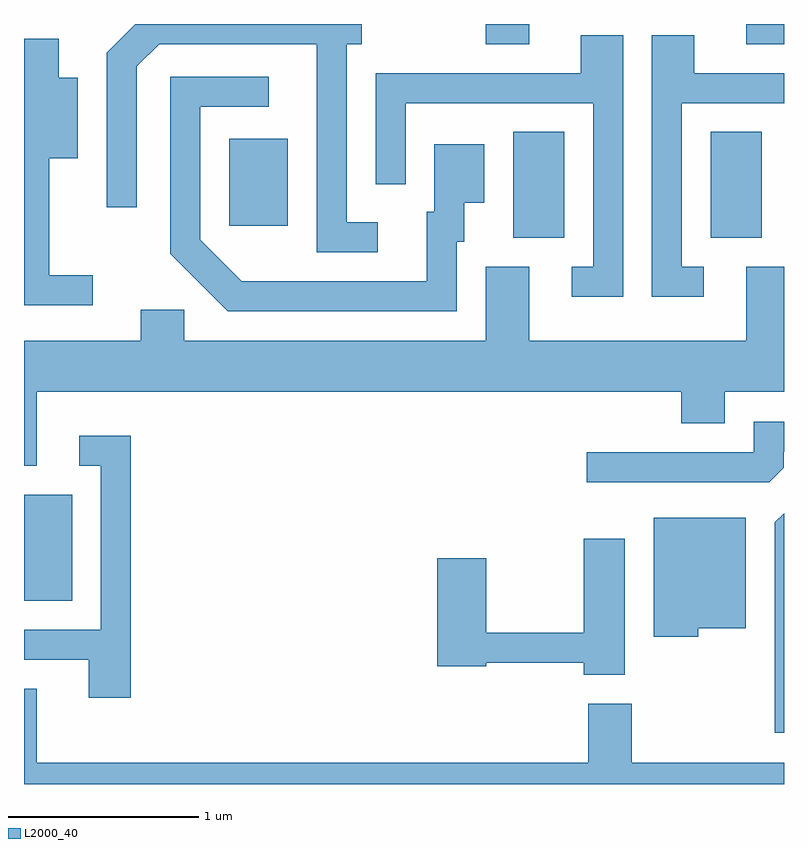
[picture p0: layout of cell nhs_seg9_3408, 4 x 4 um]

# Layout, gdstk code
import gdstk
lib = gdstk.Library(unit=1e-6, precision=1e-09)
def R(c, l, rs):  # rectangles x0, y0, x1, y1
    for r in rs: c.add(gdstk.rectangle(r[:2], r[2:], *l))
def P(c, l, *ps):  # polygons
    for p in ps: c.add(gdstk.Polygon(p, *l))
L2000_40 = (2000, 40)

nhs_seg9_3408 = lib.new_cell('nhs_seg9_3408')
R(nhs_seg9_3408, L2000_40, [(285.611,1977.396,285.864,1977.954), (288.186,1979.306,288.454,1979.864), (289.226,1979.306,289.494,1979.864), (286.691,1979.371,286.999,1979.829), (288.041,1980.326,288.269,1980.432), (289.411,1980.326,289.611,1980.432)])
P(nhs_seg9_3408, L2000_40, [(287.473,1979.389),(287.309,1979.389),(287.309,1980.326),(287.388,1980.326),(287.388,1980.432),(286.197,1980.432),(286.046,1980.282),(286.046,1979.468),(286.204,1979.468),(286.204,1980.209),(286.322,1980.326),(287.151,1980.326),(287.151,1979.231),(287.473,1979.231)],
  [(289.188,1979.154),(289.074,1979.154),(289.074,1980.016),(289.611,1980.016),(289.611,1980.174),(289.139,1980.174),(289.139,1980.374),(288.916,1980.374),(288.916,1978.996),(289.188,1978.996)],
  [(288.764,1980.374),(288.541,1980.374),(288.541,1980.174),(287.461,1980.174),(287.461,1979.588),(287.619,1979.588),(287.619,1980.016),(288.606,1980.016),(288.606,1979.154),(288.493,1979.154),(288.493,1978.996),(288.764,1978.996)],
  [(285.973,1979.109),(285.744,1979.109),(285.744,1979.726),(285.894,1979.726),(285.894,1980.149),(285.794,1980.149),(285.794,1980.354),(285.611,1980.354),(285.611,1978.951),(285.973,1978.951)],
  [(287.889,1979.286),(287.929,1979.286),(287.929,1979.491),(288.034,1979.491),(288.034,1979.799),(287.771,1979.799),(287.771,1979.444),(287.731,1979.444),(287.731,1979.079),(286.757,1979.079),(286.539,1979.297),(286.539,1979.996),(286.898,1979.996),(286.898,1980.154),(286.381,1980.154),(286.381,1979.224),(286.684,1978.921),(287.889,1978.921)],
  [(285.679,1978.496),(289.071,1978.496),(289.071,1978.331),(289.299,1978.331),(289.299,1978.496),(289.611,1978.496),(289.611,1979.154),(289.411,1979.154),(289.411,1978.764),(288.269,1978.764),(288.269,1979.154),(288.041,1979.154),(288.041,1978.764),(286.454,1978.764),(286.454,1978.929),(286.226,1978.929),(286.226,1978.764),(285.611,1978.764),(285.611,1978.106),(285.679,1978.106)],
  [(289.609,1978.097),(289.609,1978.181),(289.611,1978.181),(289.611,1978.339),(289.451,1978.339),(289.451,1978.179),(288.573,1978.179),(288.573,1978.021),(289.534,1978.021)],
  [(286.174,1978.264),(285.903,1978.264),(285.903,1978.106),(286.016,1978.106),(286.016,1977.244),(285.611,1977.244),(285.611,1977.086),(285.951,1977.086),(285.951,1976.886),(286.174,1976.886)],
  [(289.611,1977.858),(289.561,1977.809),(289.561,1976.701),(289.611,1976.701)],
  [(289.159,1977.251),(289.409,1977.251),(289.409,1977.834),(288.926,1977.834),(288.926,1977.206),(289.159,1977.206)],
  [(288.774,1977.724),(288.556,1977.724),(288.556,1977.229),(288.044,1977.229),(288.044,1977.619),(287.786,1977.619),(287.786,1977.051),(288.044,1977.051),(288.044,1977.071),(288.556,1977.071),(288.556,1977.006),(288.774,1977.006)],
  [(289.611,1976.544),(288.809,1976.544),(288.809,1976.854),(288.581,1976.854),(288.581,1976.544),(285.679,1976.544),(285.679,1976.934),(285.611,1976.934),(285.611,1976.432),(289.611,1976.432)])

lib.write_gds('nhs_seg9_3408.gds')
